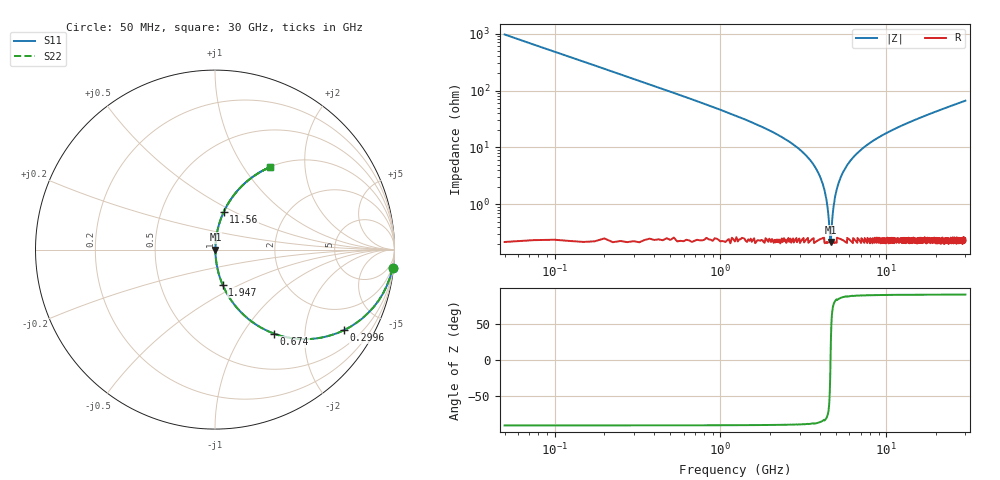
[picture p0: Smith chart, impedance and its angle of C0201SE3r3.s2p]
!	AVX Thin Film Operation 	Date: April 2014
!	Description: Accu-P® Series, Thin Film  SMD RF Capacitor
!	Part Number: 02013J3R3ABSTR
# MHZ S MA R 50
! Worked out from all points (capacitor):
!   1201 points, 50 MHz to 30 GHz, reference 50 ohm
!   read as one part in series: C = 3.3 pF near 199.8 MHz
!   lowest |Z| = 218 mohm at 4.617 GHz (marker M1)
!   series resonance near 4.612 GHz, so ESL is about 360 pH
!   S11 on the Smith chart (normalised r, x): 50 MHz: 1, -19; 299.6 MHz: 1.00, -3.21; 674 MHz: 1.00, -1.40; 1.947 GHz: 1.00, -0.41; 11.56 GHz: 1.00, +0.44; 30 GHz: 1.01, +1.33
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50  0.995 -5.9  0.103 84.1  0.103 84.1  0.995 -5.9
299.583  0.848 -31.9  0.529 58.0  0.529 58.0  0.848 -31.9
673.958  0.573 -54.9  0.818 34.9  0.818 34.9  0.573 -54.9
1148.167  0.366 -68.2  0.929 21.5  0.929 21.5  0.366 -68.2
1946.833  0.199 -77.9  0.978 11.5  0.978 11.5  0.199 -77.9
3144.833  0.082 -83.7  0.994 4.7  0.994 4.7  0.082 -83.7
3818.708  0.04 -84.4  0.997 2.3  0.997 2.3  0.04 -84.4
4218.042  0.019 -81.8  0.997 1.1  0.997 1.1  0.019 -81.8
4367.792  0.012 -77.8  0.998 0.7  0.998 0.7  0.012 -77.8
4517.542  0.004926 -61.5  0.998 0.2  0.998 0.2  0.004926 -61.5
4617.375  0.002345 5.5  0.998 -0.0  0.998 -0.0  0.002345 5.5
4717.208  0.005236 63.3  0.998 -0.3  0.998 -0.3  0.005236 63.3
4866.958  0.011 77.6  0.998 -0.6  0.998 -0.6  0.011 77.6
5041.667  0.019 81.8  0.997 -1.1  0.997 -1.1  0.019 81.8
5615.708  0.041 84.4  0.997 -2.4  0.997 -2.4  0.041 84.4
6589.083  0.076 83.9  0.995 -4.3  0.995 -4.3  0.076 83.9
10058.29  0.177 79.1  0.982 -10.2  0.982 -10.2  0.177 79.1
11555.79  0.215 77.0  0.974 -12.4  0.974 -12.4  0.215 77.0
15025  0.294 72.5  0.954 -17.1  0.954 -17.1  0.294 72.5
20016.67  0.394 66.5  0.917 -23.2  0.917 -23.2  0.394 66.5
25033.29  0.48 61.1  0.875 -28.7  0.875 -28.7  0.48 61.1
30000  0.552 56.3  0.832 -33.5  0.832 -33.5  0.552 56.3
